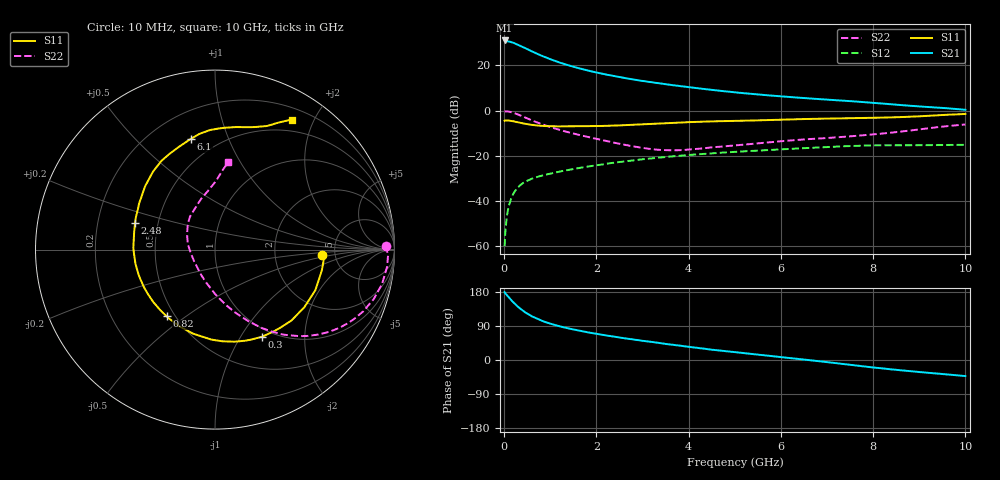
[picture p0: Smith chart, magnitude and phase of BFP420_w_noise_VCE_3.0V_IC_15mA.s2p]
! Infineon Technologies  Discrete & RF Semiconductors
! BFP420
! VCE =  3.0 V,  IC =  15 mA
! Common Emitter S-Parameters:  Jan 2016
# GHz  S  MA  R  50
!  f  S11  S21  S12  S22
! GHz  MAG  ANG  MAG  ANG  MAG  ANG  MAG  ANG
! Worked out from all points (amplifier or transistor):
!   233 points, 10 MHz to 10 GHz, reference 50 ohm
!   highest |S21| = 31.0 dB at 10 MHz (marker M1)
!   |S21| within 3 dB of that: start of sweep to 416.8 MHz
!   unconditionally stable (mu >= 1): 2.044 GHz to end of sweep
!   at 200 MHz: K = 0.20, MSG = 33.4 dB, |S12| = -36.8 dB
!   at 1.74 GHz: K = 0.93, MSG = 21.6 dB, |S12| = -25.0 dB
!   at 10 GHz: K = 1.08, MAG = 6.1 dB, |S12| = -15.1 dB
!   lowest NFmin = 1.06 dB at 900 MHz
!   S11 on the Smith chart (normalised r, x): 10 MHz: 3.92, -0.35; 300 MHz: 0.89, -1.24; 820 MHz: 0.45, -0.43; 2.48 GHz: 0.37, +0.14; 6.1 GHz: 0.36, +0.74; 10 GHz: 0.34, +1.70
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0.01  0.5961 -2.8  35.62 179.0  0.001 88.3  0.9528 1.3
0.02  0.6093 -4.4  34.7 176.7  0.0016 77.8  0.9645 -2.0
0.05  0.6066 -10.9  34.45 172.3  0.0038 82.9  0.9639 -5.6
0.1  0.6031 -22.0  33.94 165.3  0.0077 79.8  0.9504 -11.7
0.15  0.5924 -32.8  32.89 158.4  0.0111 75.9  0.9263 -17.3
0.2  0.5809 -42.9  31.65 152.0  0.0145 72.2  0.8948 -22.6
0.3  0.5516 -61.7  28.71 140.3  0.02 65.4  0.8205 -32.0
0.4  0.5244 -78.1  25.71 130.6  0.0245 60.7  0.7432 -39.6
0.5  0.5018 -92.3  22.91 122.4  0.028 57.1  0.6712 -45.9
0.56  0.4884 -99.6  21.41 118.3  0.0299 55.4  0.6325 -49.0
0.7  0.4706 -115.3  18.35 109.5  0.0336 52.7  0.5533 -55.5
0.82  0.4593 -125.9  16.23 103.5  0.0364 51.2  0.4987 -59.9
1  0.4511 -139.7  13.7 95.9  0.0404 49.9  0.4317 -65.8
1.2  0.4479 -151.7  11.58 88.9  0.0446 49.1  0.3743 -71.6
1.68  0.4504 -173.2  8.337 76.1  0.055 47.5  0.2805 -83.8
2.48  0.4695 161.4  5.559 59.8  0.0724 43.4  0.1863 -106.3
3.4  0.5178 140.0  3.956 44.3  0.092 37.0  0.1346 -145.0
5.1  0.5941 113.9  2.477 19.4  0.1239 22.9  0.1731 153.7
6.1  0.6318 102.1  2.028 6.6  0.1403 14.8  0.2141 133.7
6.8  0.6595 94.5  1.804 -2.8  0.1526 8.4  0.2399 122.0
8.4  0.7069 74.7  1.376 -24.8  0.1706 -8.7  0.3252 97.6
10  0.8411 59.5  1.042 -42.4  0.1749 -20.7  0.4937 81.4
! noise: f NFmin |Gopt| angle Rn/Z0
0.9  1.06  0.09  -152  0.13
1.8  1.36  0.18  -147  0.12
2.4  1.49  0.17  -148  0.14
3  1.53  0.25  -138  0.14
4  1.67  0.38  -119  0.2
5  2.14  0.44  -103  0.32
6  2.48  0.5  -88  0.47
